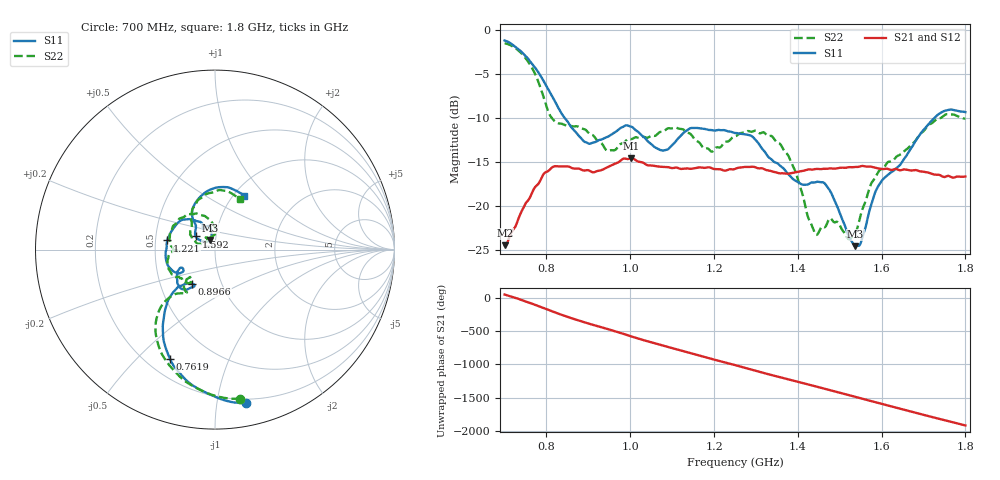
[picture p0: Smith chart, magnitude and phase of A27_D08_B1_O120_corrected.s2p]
! Created with skrf 1.9.0 (http://scikit-rf.org).
# Hz S RI R 50.0
!freq ReS11 ImS11 ReS21 ImS21 ReS12 ImS12 ReS22 ImS22
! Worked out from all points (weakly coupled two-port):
!   1601 points, 700 MHz to 1.8 GHz, reference 50 ohm
!   highest |S21| = -14.54 dB at 1.002 GHz (marker M1); lowest = -24.4 dB at 700.7 MHz (marker M2)
!   lowest |S11| = -24.5 dB at 1.537 GHz (marker M3), VSWR 1.13, Z = 47.1 + j5 ohm
!   |S11| at or under -10 dB: 843.9 MHz to 1.725 GHz (881.2 MHz wide, 68.6 % of centre)
!   |S22| runs from -23.8 to -1.5 dB; largest |S21 - S12| = 0.0036
!   S11 on the Smith chart (normalised r, x): 700 MHz: 0.17, -1.21; 761.9 MHz: 0.29, -0.63; 896.6 MHz: 0.72, -0.29; 1.221 GHz: 0.58, +0.06; 1.592 GHz: 0.80, +0.12; 1.8 GHz: 1.12, +0.76
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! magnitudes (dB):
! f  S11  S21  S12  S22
! 700 MHz  -1.2  -24.4  -24.2  -1.5
! 700.7 MHz  -1.2  -24.4  -24.1  -1.5
! 761.9 MHz  -3.6  -18.9  -18.8  -4.0
! 814.1 MHz  -7.6  -15.6  -15.6  -10.1
! 883.6 MHz  -12.3  -15.9  -15.7  -11.2
! 896.6 MHz  -12.8  -15.9  -16.0  -11.5
! 946.8 MHz  -12.1  -15.5  -15.6  -13.7
! 1.002 GHz  -11.0  -14.5  -14.6  -12.4
! 1.067 GHz  -13.5  -15.5  -15.4  -11.7
! 1.145 GHz  -11.1  -15.7  -15.7  -11.8
! 1.221 GHz  -11.3  -15.9  -15.9  -12.9
! 1.25 GHz  -11.7  -15.8  -15.7  -12.1
! 1.358 GHz  -15.4  -16.3  -16.2  -12.9
! 1.393 GHz  -17.1  -16.2  -16.1  -15.9
! 1.434 GHz  -17.3  -15.8  -15.8  -22.2
! 1.472 GHz  -17.9  -15.7  -15.7  -21.7
! 1.537 GHz  -24.5  -15.5  -15.5  -23.0
! 1.551 GHz  -24.0  -15.4  -15.5  -20.8
! 1.592 GHz  -17.7  -15.7  -15.7  -16.1
! 1.617 GHz  -16.4  -15.8  -15.8  -14.9
! 1.733 GHz  -9.7  -16.4  -16.4  -10.1
! 1.8 GHz  -9.3  -16.6  -16.6  -10.1
